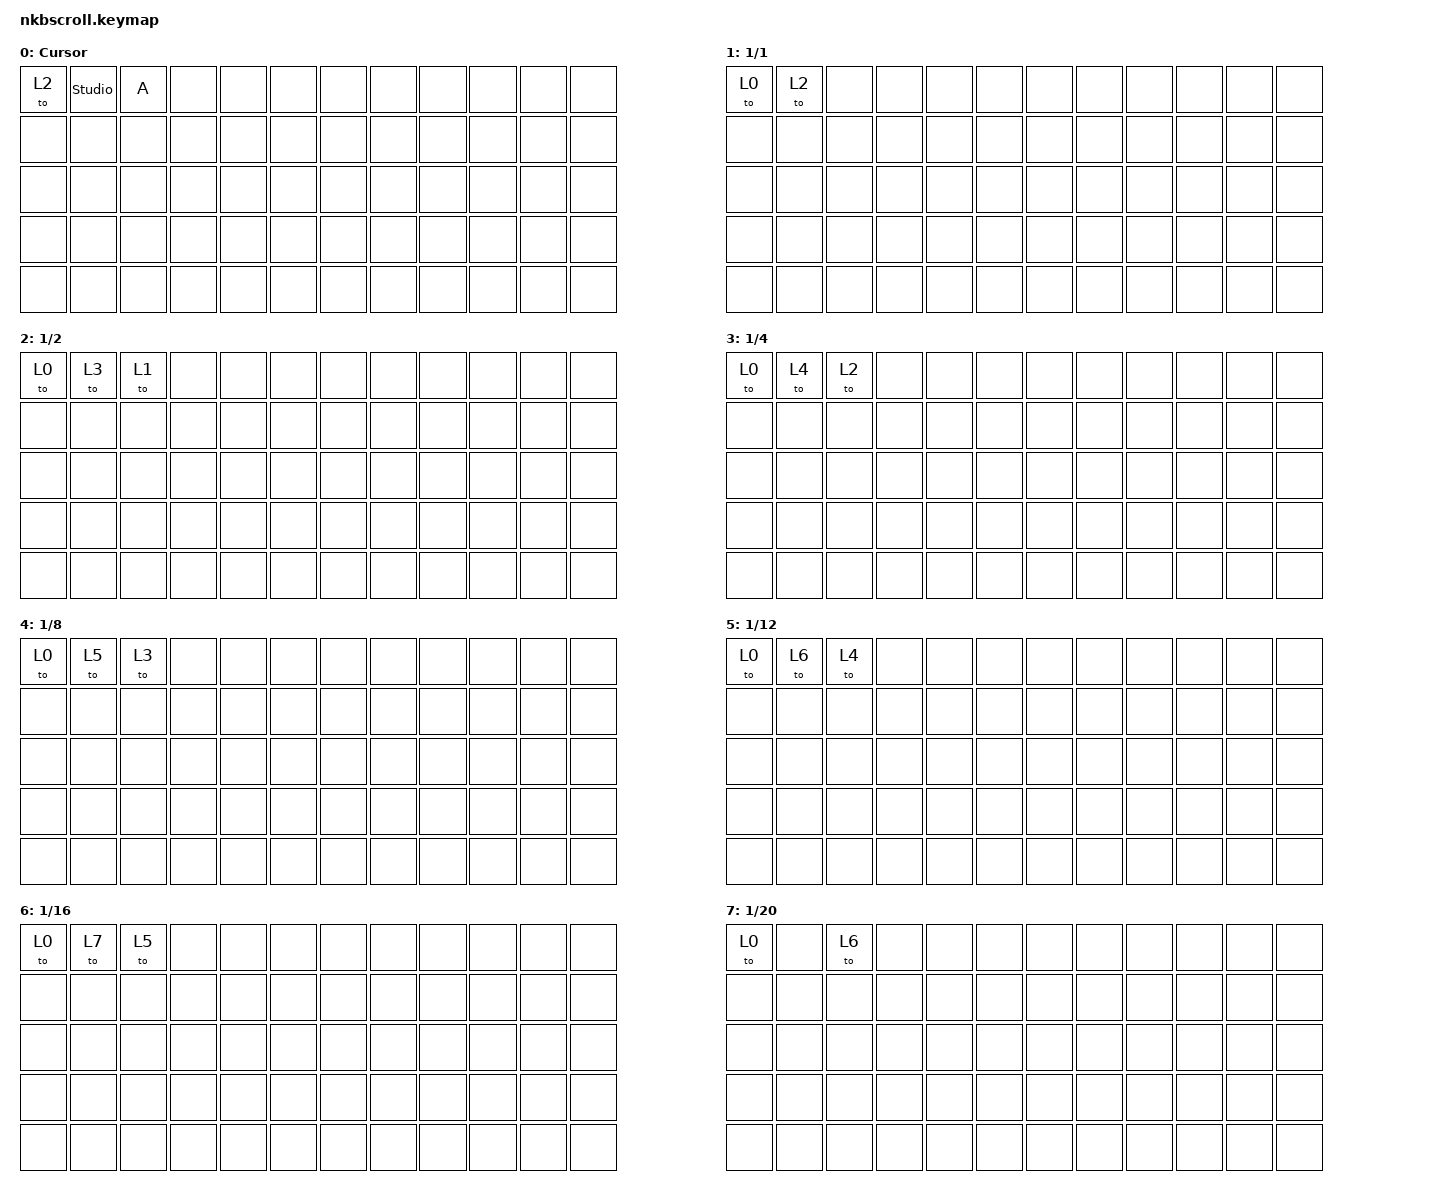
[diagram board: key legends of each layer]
/* Snap-scroll, 7 cyclable sensitivity presets.
   base: key0 = enter scroll (starts 1/2), key1 = studio_unlock, key2 = A.
   scroll layers: key0 = exit, key1 = slower, key2 = faster.
   ratios (layer): L1=1/1 L2=1/2 L3=1/4 L4=1/8 L5=1/12 L6=1/16 L7=1/20 */
#include <behaviors.dtsi>
#include <dt-bindings/zmk/keys.h>

/ {
    keymap {
        compatible = "zmk,keymap";
        base {
            display-name = "Cursor";
            bindings = <
   &to 2 &studio_unlock &kp A &none &none &none &none &none &none &none &none &none
   &none &none &none &none &none &none &none &none &none &none &none &none
   &none &none &none &none &none &none &none &none &none &none &none &none
   &none &none &none &none &none &none &none &none &none &none &none &none
   &none &none &none &none &none &none &none &none &none &none &none &none
            >;
        };
        s1_1_1 {
            display-name = "1/1";
            bindings = <
   &to 0 &to 2 &none &none &none &none &none &none &none &none &none &none
   &none &none &none &none &none &none &none &none &none &none &none &none
   &none &none &none &none &none &none &none &none &none &none &none &none
   &none &none &none &none &none &none &none &none &none &none &none &none
   &none &none &none &none &none &none &none &none &none &none &none &none
            >;
        };
        s2_1_2 {
            display-name = "1/2";
            bindings = <
   &to 0 &to 3 &to 1 &none &none &none &none &none &none &none &none &none
   &none &none &none &none &none &none &none &none &none &none &none &none
   &none &none &none &none &none &none &none &none &none &none &none &none
   &none &none &none &none &none &none &none &none &none &none &none &none
   &none &none &none &none &none &none &none &none &none &none &none &none
            >;
        };
        s3_1_4 {
            display-name = "1/4";
            bindings = <
   &to 0 &to 4 &to 2 &none &none &none &none &none &none &none &none &none
   &none &none &none &none &none &none &none &none &none &none &none &none
   &none &none &none &none &none &none &none &none &none &none &none &none
   &none &none &none &none &none &none &none &none &none &none &none &none
   &none &none &none &none &none &none &none &none &none &none &none &none
            >;
        };
        s4_1_8 {
            display-name = "1/8";
            bindings = <
   &to 0 &to 5 &to 3 &none &none &none &none &none &none &none &none &none
   &none &none &none &none &none &none &none &none &none &none &none &none
   &none &none &none &none &none &none &none &none &none &none &none &none
   &none &none &none &none &none &none &none &none &none &none &none &none
   &none &none &none &none &none &none &none &none &none &none &none &none
            >;
        };
        s5_1_12 {
            display-name = "1/12";
            bindings = <
   &to 0 &to 6 &to 4 &none &none &none &none &none &none &none &none &none
   &none &none &none &none &none &none &none &none &none &none &none &none
   &none &none &none &none &none &none &none &none &none &none &none &none
   &none &none &none &none &none &none &none &none &none &none &none &none
   &none &none &none &none &none &none &none &none &none &none &none &none
            >;
        };
        s6_1_16 {
            display-name = "1/16";
            bindings = <
   &to 0 &to 7 &to 5 &none &none &none &none &none &none &none &none &none
   &none &none &none &none &none &none &none &none &none &none &none &none
   &none &none &none &none &none &none &none &none &none &none &none &none
   &none &none &none &none &none &none &none &none &none &none &none &none
   &none &none &none &none &none &none &none &none &none &none &none &none
            >;
        };
        s7_1_20 {
            display-name = "1/20";
            bindings = <
   &to 0 &none &to 6 &none &none &none &none &none &none &none &none &none
   &none &none &none &none &none &none &none &none &none &none &none &none
   &none &none &none &none &none &none &none &none &none &none &none &none
   &none &none &none &none &none &none &none &none &none &none &none &none
   &none &none &none &none &none &none &none &none &none &none &none &none
            >;
        };
    };
};
